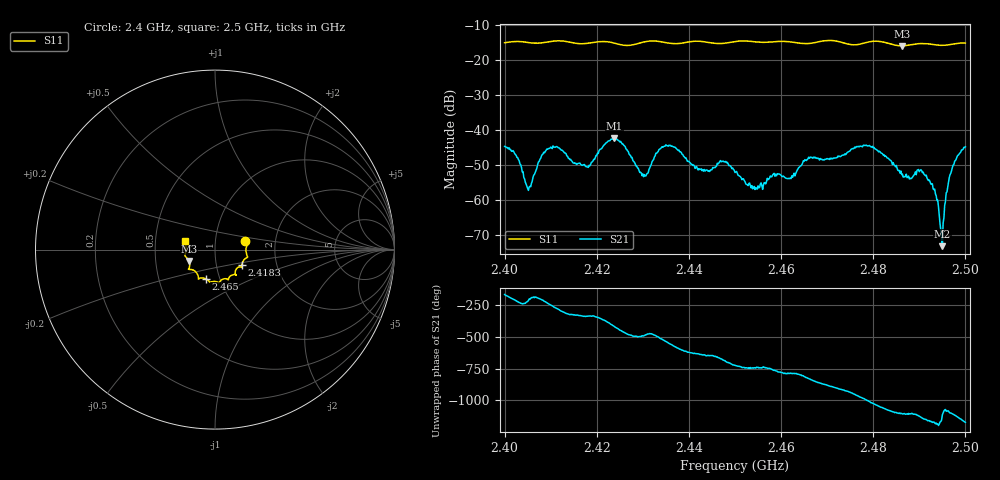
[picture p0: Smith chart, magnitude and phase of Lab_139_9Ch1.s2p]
# Hz S RI R 50
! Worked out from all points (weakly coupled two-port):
!   601 points, 2.4 GHz to 2.5 GHz, reference 50 ohm
!   highest |S21| = -42.41 dB at 2.4238 GHz (marker M1); lowest = -73.1 dB at 2.495 GHz (marker M2)
!   lowest |S11| = -16.0 dB at 2.4862 GHz (marker M3), VSWR 1.38, Z = 37.1 - j4.8 ohm
!   |S11| at or under -10 dB: start of sweep to end of sweep
!   S12 and S22 are empty: the file has one direction only
!   S11 on the Smith chart (normalised r, x): 2.4 GHz: 1.40, +0.13; 2.4183 GHz: 1.33, -0.24; 2.465 GHz: 0.86, -0.29; 2.5 GHz: 0.71, +0.07
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2.4e9  0.169 0.0455  -0.00576 -0.000935  0 0  0 0
2.4025e9  0.1795 0.0341  -0.0034 0.00275  0 0  0 0
2.405167e9  0.1753 0.0171  -0.00109 0.000844  0 0  0 0
2.409667e9  0.1779 -0.0324  -0.0022 0.00501  0 0  0 0
2.416667e9  0.1549 -0.0684  0.00295 0.00122  0 0  0 0
2.418333e9  0.1498 -0.0869  0.00293 0.00115  0 0  0 0
2.423833e9  0.1439 -0.0964  0.00357 -0.00669  0 0  0 0
2.430167e9  0.1141 -0.138  -0.00153 -0.00152  0 0  0 0
2.433333e9  0.1168 -0.1413  -0.00392 -0.00304  0 0  0 0
2.45e9  0.0252 -0.1806  0.00247 -0.000221  0 0  0 0
2.454833e9  0.00879 -0.1789  0.00134 -0.000527  0 0  0 0
2.462e9  -0.0324 -0.177  0.000863 -0.00187  0 0  0 0
2.465e9  -0.0527 -0.162  -0.000163 -0.00359  0 0  0 0
2.466667e9  -0.0713 -0.1575  -0.00197 -0.00355  0 0  0 0
2.478333e9  -0.1362 -0.1106  0.000348 0.00603  0 0  0 0
2.483333e9  -0.1421 -0.0959  0.00393 0.000201  0 0  0 0
2.486167e9  -0.1449 -0.0631  0.00215 -0.000857  0 0  0 0
2.491e9  -0.1672 -0.033  0.000987 -0.00214  0 0  0 0
2.493167e9  -0.1639 -0.0176  3.51e-05 -0.00142  0 0  0 0
2.495e9  -0.1608 0.00421  0.000184 -0.000124  0 0  0 0
2.496833e9  -0.1632 0.0258  0.0023 -0.000744  0 0  0 0
2.5e9  -0.1667 0.0475  -7.76e-05 -0.00576  0 0  0 0
